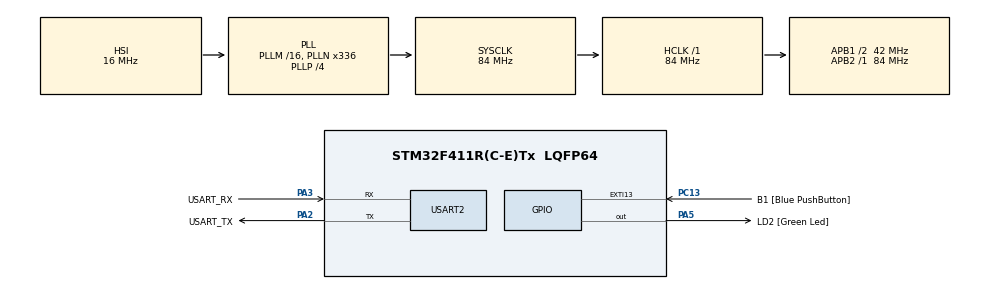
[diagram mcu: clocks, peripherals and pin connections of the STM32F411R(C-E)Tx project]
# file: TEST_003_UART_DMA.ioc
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Dma.Request0=USART2_RX
Dma.USART2_RX.0.Direction=DMA_PERIPH_TO_MEMORY
Dma.USART2_RX.0.FIFOMode=DMA_FIFOMODE_DISABLE
Dma.USART2_RX.0.Instance=DMA1_Stream5
Dma.USART2_RX.0.MemDataAlignment=DMA_MDATAALIGN_BYTE
Dma.USART2_RX.0.MemInc=DMA_MINC_ENABLE
Dma.USART2_RX.0.Mode=DMA_CIRCULAR
Dma.USART2_RX.0.PeriphDataAlignment=DMA_PDATAALIGN_BYTE
Dma.USART2_RX.0.PeriphInc=DMA_PINC_DISABLE
Dma.USART2_RX.0.Priority=DMA_PRIORITY_LOW
Mcu.Family=STM32F4
Mcu.Name=STM32F411R(C-E)Tx
Mcu.Package=LQFP64
NVIC.DMA1_Stream5_IRQn=true\:0\:0\:false\:false\:true\:false\:true\:true
NVIC.PriorityGroup=NVIC_PRIORITYGROUP_0
PA13.GPIO_Label=TMS
PA13.Mode=Serial_Wire
PA13.Signal=SYS_JTMS-SWDIO
PA14.GPIO_Label=TCK
PA14.Mode=Serial_Wire
PA14.Signal=SYS_JTCK-SWCLK
PA2.GPIO_Label=USART_TX
PA2.Mode=Asynchronous
PA2.Signal=USART2_TX
PA3.GPIO_Label=USART_RX
PA3.Mode=Asynchronous
PA3.Signal=USART2_RX
PA5.GPIO_Label=LD2 [Green Led]
PA5.Signal=GPIO_Output
PB3.GPIO_Label=SWO
PB3.Signal=SYS_JTDO-SWO
PC13-ANTI_TAMP.GPIO_Label=B1 [Blue PushButton]
PC13-ANTI_TAMP.GPIO_ModeDefaultEXTI=GPIO_MODE_IT_FALLING
PC13-ANTI_TAMP.Signal=GPXTI13
PC14-OSC32_IN.Mode=LSE-External-Oscillator
PC14-OSC32_IN.Signal=RCC_OSC32_IN
PC15-OSC32_OUT.Mode=LSE-External-Oscillator
PC15-OSC32_OUT.Signal=RCC_OSC32_OUT
PH0\ -\ OSC_IN.Mode=HSE-External-Clock-Source
PH0\ -\ OSC_IN.Signal=RCC_OSC_IN
PH1\ -\ OSC_OUT.Mode=HSE-External-Clock-Source
PH1\ -\ OSC_OUT.Signal=RCC_OSC_OUT
ProjectManager.HeapSize=0x200
ProjectManager.StackSize=0x400
ProjectManager.TargetToolchain=STM32CubeIDE
RCC.48MHZClocksFreq_Value=84000000
RCC.AHBFreq_Value=84000000
RCC.APB1CLKDivider=RCC_HCLK_DIV2
RCC.APB1Freq_Value=42000000
RCC.APB1TimFreq_Value=84000000
RCC.APB2Freq_Value=84000000
RCC.APB2TimFreq_Value=84000000
RCC.CortexFreq_Value=84000000
RCC.FLatency-AdvancedSettings=FLASH_LATENCY_2
RCC.HCLKFreq_Value=84000000
RCC.HSE_VALUE=8000000
RCC.HSI_VALUE=16000000
RCC.PLLN=336
RCC.PLLP=RCC_PLLP_DIV4
RCC.SYSCLKFreq_VALUE=84000000
RCC.SYSCLKSource=RCC_SYSCLKSOURCE_PLLCLK
RCC.VCOOutputFreq_Value=336000000
USART2.VirtualMode=VM_ASYNC
board=NUCLEO-F411RE

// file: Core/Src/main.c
/* USER CODE BEGIN Header */
/**
  ******************************************************************************
  * @file           : main.c
  * @brief          : Main program body
  ******************************************************************************
  * @attention
  *
  * Copyright (c) 2024 STMicroelectronics.
  * All rights reserved.
  *
  * This software is licensed under terms that can be found in the LICENSE file
  * in the root directory of this software component.
  * If no LICENSE file comes with this software, it is provided AS-IS.
  *
  ******************************************************************************
  */
/* USER CODE END Header */
#include "main.h"

UART_HandleTypeDef huart2;
DMA_HandleTypeDef hdma_usart2_rx;

void SystemClock_Config(void);
static void MX_GPIO_Init(void);
static void MX_DMA_Init(void);
static void MX_USART2_UART_Init(void);

/* USER CODE BEGIN 0 */
#define MAX_BUF 100
	char Buf[MAX_BUF];
	int head = 0, tail = 0;
	int GetBuffer(char *bb)
	{
		int ret = 0;
		tail = MAX_BUF - huart2.hdmarx->Instance->NDTR;
		if(head == tail) return 0;	//data receive 0
		if(head < tail)				//forward
		{
			memcpy(bb, Buf + head, tail - head);	//out, start point, finish point)
			ret = tail - head;
		}
		else	//head > tail backward
		{
			memcpy(bb, Buf + head, MAX_BUF-head);
			memcpy(bb + MAX_BUF - head, Buf, tail);
			ret = MAX_BUF - head + tail;
		}
		head = tail;
		bb[ret] = 0;	//*(bb + ret) = 0;
		return ret;
	}

/* USER CODE END 0 */

int main(void)
{

  /* MCU Configuration--------------------------------------------------------*/

  /* Reset of all peripherals, Initializes the Flash interface and the Systick. */
  HAL_Init();

  /* Configure the system clock */
  SystemClock_Config();

  /* Initialize all configured peripherals */
  MX_GPIO_Init();
  MX_DMA_Init();
  MX_USART2_UART_Init();
  /* USER CODE BEGIN 2 */
  ProgramStart("UART_DMA");
  HAL_UART_Receive_DMA(&huart2, Buf, MAX_BUF);

  /* USER CODE END 2 */

  /* Infinite loop */
  /* USER CODE BEGIN WHILE */
  	  char bb[100];
  while (1)
  {
	  if(GetBuffer(bb) > 0)
		  printf("BUF : %s\r\n", bb);S
	  HAL_Delay(1000);

    /* USER CODE END WHILE */

  }
}

void SystemClock_Config(void)
{
  RCC_OscInitTypeDef RCC_OscInitStruct = {0};
  RCC_ClkInitTypeDef RCC_ClkInitStruct = {0};

  /** Configure the main internal regulator output voltage
  */
  __HAL_RCC_PWR_CLK_ENABLE();
  __HAL_PWR_VOLTAGESCALING_CONFIG(PWR_REGULATOR_VOLTAGE_SCALE1);

  /** Initializes the RCC Oscillators according to the specified parameters
  * in the RCC_OscInitTypeDef structure.
  */
  RCC_OscInitStruct.OscillatorType = RCC_OSCILLATORTYPE_HSI;
  RCC_OscInitStruct.HSIState = RCC_HSI_ON;
  RCC_OscInitStruct.HSICalibrationValue = RCC_HSICALIBRATION_DEFAULT;
  RCC_OscInitStruct.PLL.PLLState = RCC_PLL_ON;
  RCC_OscInitStruct.PLL.PLLSource = RCC_PLLSOURCE_HSI;
  RCC_OscInitStruct.PLL.PLLM = 16;
  RCC_OscInitStruct.PLL.PLLN = 336;
  RCC_OscInitStruct.PLL.PLLP = RCC_PLLP_DIV4;
  RCC_OscInitStruct.PLL.PLLQ = 4;
  if (HAL_RCC_OscConfig(&RCC_OscInitStruct) != HAL_OK)
  {
    Error_Handler();
  }

  /** Initializes the CPU, AHB and APB buses clocks
  */
  RCC_ClkInitStruct.ClockType = RCC_CLOCKTYPE_HCLK|RCC_CLOCKTYPE_SYSCLK
                              |RCC_CLOCKTYPE_PCLK1|RCC_CLOCKTYPE_PCLK2;
  RCC_ClkInitStruct.SYSCLKSource = RCC_SYSCLKSOURCE_PLLCLK;
  RCC_ClkInitStruct.AHBCLKDivider = RCC_SYSCLK_DIV1;
  RCC_ClkInitStruct.APB1CLKDivider = RCC_HCLK_DIV2;
  RCC_ClkInitStruct.APB2CLKDivider = RCC_HCLK_DIV1;

  if (HAL_RCC_ClockConfig(&RCC_ClkInitStruct, FLASH_LATENCY_2) != HAL_OK)
  {
    Error_Handler();
  }
}

static void MX_USART2_UART_Init(void)
{

  huart2.Instance = USART2;
  huart2.Init.BaudRate = 115200;
  huart2.Init.WordLength = UART_WORDLENGTH_8B;
  huart2.Init.StopBits = UART_STOPBITS_1;
  huart2.Init.Parity = UART_PARITY_NONE;
  huart2.Init.Mode = UART_MODE_TX_RX;
  huart2.Init.HwFlowCtl = UART_HWCONTROL_NONE;
  huart2.Init.OverSampling = UART_OVERSAMPLING_16;
  if (HAL_UART_Init(&huart2) != HAL_OK)
  {
    Error_Handler();
  }

}

static void MX_DMA_Init(void)
{

  /* DMA controller clock enable */
  __HAL_RCC_DMA1_CLK_ENABLE();

  /* DMA interrupt init */
  /* DMA1_Stream5_IRQn interrupt configuration */
  HAL_NVIC_SetPriority(DMA1_Stream5_IRQn, 0, 0);
  HAL_NVIC_EnableIRQ(DMA1_Stream5_IRQn);

}

static void MX_GPIO_Init(void)
{
  GPIO_InitTypeDef GPIO_InitStruct = {0};

  /* GPIO Ports Clock Enable */
  __HAL_RCC_GPIOC_CLK_ENABLE();
  __HAL_RCC_GPIOH_CLK_ENABLE();
  __HAL_RCC_GPIOA_CLK_ENABLE();
  __HAL_RCC_GPIOB_CLK_ENABLE();

  /*Configure GPIO pin Output Level */
  HAL_GPIO_WritePin(LD2_GPIO_Port, LD2_Pin, GPIO_PIN_RESET);

  /*Configure GPIO pin : B1_Pin */
  GPIO_InitStruct.Pin = B1_Pin;
  GPIO_InitStruct.Mode = GPIO_MODE_IT_FALLING;
  GPIO_InitStruct.Pull = GPIO_NOPULL;
  HAL_GPIO_Init(B1_GPIO_Port, &GPIO_InitStruct);

  /*Configure GPIO pin : LD2_Pin */
  GPIO_InitStruct.Pin = LD2_Pin;
  GPIO_InitStruct.Mode = GPIO_MODE_OUTPUT_PP;
  GPIO_InitStruct.Pull = GPIO_NOPULL;
  GPIO_InitStruct.Speed = GPIO_SPEED_FREQ_LOW;
  HAL_GPIO_Init(LD2_GPIO_Port, &GPIO_InitStruct);

}

void Error_Handler(void)
{
  __disable_irq();
  while (1)
  {
  }
}
